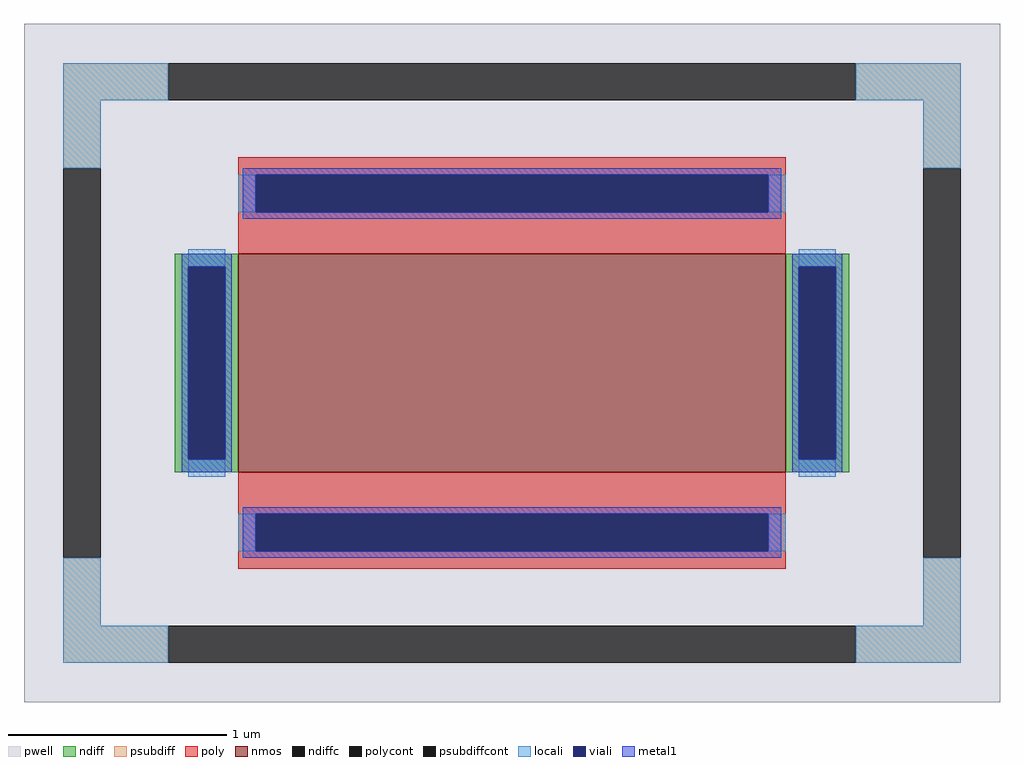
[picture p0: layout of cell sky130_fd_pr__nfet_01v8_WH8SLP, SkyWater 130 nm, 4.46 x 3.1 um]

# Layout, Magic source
magic
tech sky130A
<< pwell >>
rect -223 -155 223 155
<< nmos >>
rect -125 -50 125 50
<< ndiff >>
rect -154 44 -125 50
rect -154 -44 -148 44
rect -131 -44 -125 44
rect -154 -50 -125 -44
rect 125 44 154 50
rect 125 -44 131 44
rect 148 -44 154 44
rect 125 -50 154 -44
<< ndiffc >>
rect -148 -44 -131 44
rect 131 -44 148 44
<< psubdiff >>
rect -205 120 -157 137
rect 157 120 205 137
rect -205 89 -188 120
rect 188 89 205 120
rect -205 -120 -188 -89
rect 188 -120 205 -89
rect -205 -137 -157 -120
rect 157 -137 205 -120
<< psubdiffcont >>
rect -157 120 157 137
rect -205 -89 -188 89
rect 188 -89 205 89
rect -157 -137 157 -120
<< poly >>
rect -125 86 125 94
rect -125 69 -117 86
rect 117 69 125 86
rect -125 50 125 69
rect -125 -69 125 -50
rect -125 -86 -117 -69
rect 117 -86 125 -69
rect -125 -94 125 -86
<< polycont >>
rect -117 69 117 86
rect -117 -86 117 -69
<< locali >>
rect -205 120 -157 137
rect 157 120 205 137
rect -205 89 -188 120
rect 188 89 205 120
rect -125 69 -117 86
rect 117 69 125 86
rect -148 44 -131 52
rect -148 -52 -131 -44
rect 131 44 148 52
rect 131 -52 148 -44
rect -125 -86 -117 -69
rect 117 -86 125 -69
rect -205 -120 -188 -89
rect 188 -120 205 -89
rect -205 -137 -157 -120
rect 157 -137 205 -120
<< viali >>
rect -117 69 117 86
rect -148 -44 -131 44
rect 131 -44 148 44
rect -117 -86 117 -69
<< metal1 >>
rect -123 86 123 89
rect -123 69 -117 86
rect 117 69 123 86
rect -123 66 123 69
rect -151 44 -128 50
rect -151 -44 -148 44
rect -131 -44 -128 44
rect -151 -50 -128 -44
rect 128 44 151 50
rect 128 -44 131 44
rect 148 -44 151 44
rect 128 -50 151 -44
rect -123 -69 123 -66
rect -123 -86 -117 -69
rect 117 -86 123 -69
rect -123 -89 123 -86
<< properties >>
string FIXED_BBOX -196 -128 196 128
string gencell sky130_fd_pr__nfet_01v8
string library sky130
string parameters w 1.0 l 2.5 m 1 nf 1 diffcov 100 polycov 100 guard 1 glc 1 grc 1 gtc 1 gbc 1 tbcov 100 rlcov 100 topc 1 botc 1 poverlap 0 doverlap 1 lmin 0.15 wmin 0.42 class mosfet compatible {sky130_fd_pr__nfet_01v8 sky130_fd_pr__nfet_01v8_lvt  sky130_fd_bs_flash__special_sonosfet_star  sky130_fd_pr__nfet_g5v0d10v5 sky130_fd_pr__nfet_05v0_nvt  sky130_fd_pr__nfet_03v3_nvt} full_metal 1 viasrc 100 viadrn 100 viagate 100 viagb 0 viagr 0 viagl 0 viagt 0 ad {int((nf+1)/2) * W/nf * 0.29} as {int((nf+2)/2) * W/nf * 0.29} pd {2*int((nf+1)/2) * (W/nf + 0.29)} ps {2*int((nf+2)/2) * (W/nf + 0.29)} nrd {0.29 / W} nrs {0.29 / W} sa 0 sb 0 sd 0 mult 1
<< end >>
